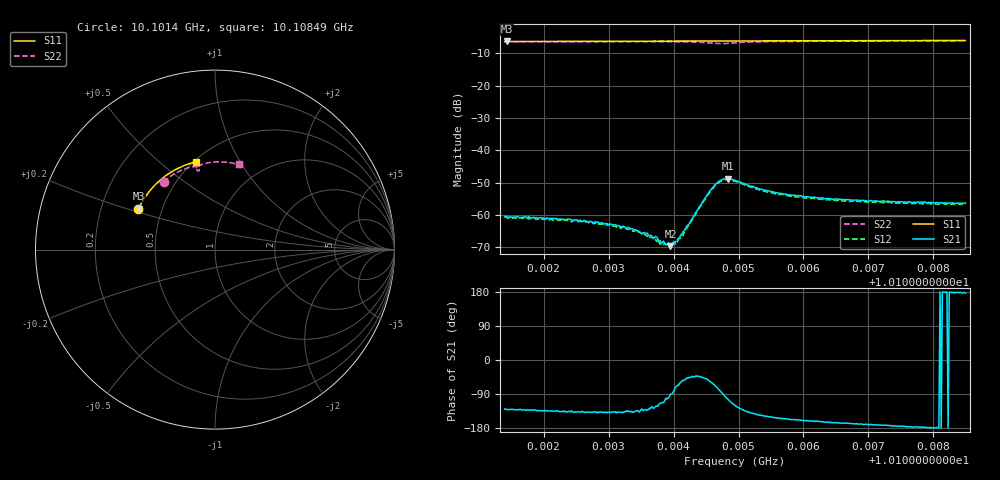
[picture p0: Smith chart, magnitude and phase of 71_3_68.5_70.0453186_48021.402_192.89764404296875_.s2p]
#  HZ  S  RI  R  50.00
! Rohde & Schwarz Vector Network Analyzer
! Rohde-Schwarz,ZNB20-2Port,1311601062101988,3.16
! Created: UTC 3/20/2024, 5:06:55 PM
! freq[Hz]  re:S11  im:S11  re:S21  im:S21  re:S12  im:S12  re:S22  im:S22
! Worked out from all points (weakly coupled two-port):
!   401 points, 10.1014 GHz to 10.10849 GHz, reference 50 ohm
!   highest |S21| = -48.71 dB at 10.10484 GHz (marker M1); lowest = -69.6 dB at 10.10395 GHz (marker M2)
!   lowest |S11| = -6.3 dB at 10.10144 GHz (marker M3), VSWR 2.87, Z = 18.4 + j10.9 ohm
!   |S11| at or under -10 dB: nowhere
!   |S22| runs from -7.0 to -6.1 dB; largest |S21 - S12| = 0.00038
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1.01014e10  -0.4271 0.2256  -0.0006 -0.000737  -0.000527 -0.000759  -0.2866 0.3792
1.0101435e10  -0.4261 0.2274  -0.000592 -0.000704  -0.000515 -0.000743  -0.285 0.3807
1.0102588e10  -0.392 0.2885  -0.000574 -0.000564  -0.000548 -0.000567  -0.2233 0.4237
1.0103013e10  -0.3771 0.3097  -0.000523 -0.000471  -0.000491 -0.000509  -0.1984 0.437
1.0103332e10  -0.3652 0.3252  -0.000454 -0.000419  -0.000374 -0.000436  -0.1788 0.4458
1.0103492e10  -0.359 0.3325  -0.000363 -0.000395  -0.000356 -0.0004  -0.1685 0.4501
1.0103581e10  -0.3557 0.3367  -0.000358 -0.000387  -0.00029 -0.000388  -0.1628 0.4522
1.0103776e10  -0.3477 0.3455  -0.000175 -0.000351  -0.000156 -0.000342  -0.1497 0.4567
1.0103847e10  -0.3447 0.3487  -0.000152 -0.000367  -7.49e-05 -0.00034  -0.1445 0.4581
1.0103953e10  -0.3404 0.3534  2.31e-07 -0.00033  3.45e-05 -0.000353  -0.1369 0.4601
1.0104059e10  -0.3359 0.358  0.000152 -0.000352  0.000179 -0.000365  -0.1287 0.4617
1.010413e10  -0.333 0.3611  0.000298 -0.000418  0.000298 -0.000385  -0.123 0.4621
1.0104503e10  -0.3165 0.3768  0.00127 -0.00147  0.00131 -0.00131  -0.0916 0.4549
1.0104609e10  -0.3116 0.381  0.00123 -0.0024  0.0014 -0.00221  -0.087 0.4461
1.0104733e10  -0.3062 0.3858  0.000301 -0.00347  0.000588 -0.00333  -0.0921 0.4378
1.0104839e10  -0.3013 0.39  -0.000884 -0.00356  -0.000597 -0.00345  -0.0996 0.4413
1.0104946e10  -0.2965 0.3941  -0.00171 -0.00299  -0.00138 -0.00303  -0.1007 0.4504
1.0105442e10  -0.2728 0.4128  -0.00202 -0.00125  -0.00183 -0.00134  -0.0694 0.4762
1.0105726e10  -0.2587 0.4224  -0.0019 -0.00089  -0.00175 -0.00101  -0.0493 0.4817
1.0106134e10  -0.2378 0.4356  -0.00176 -0.000578  -0.00166 -0.000757  -0.0213 0.4862
1.0107322e10  -0.1736 0.4677  -0.00161 -0.000207  -0.00153 -0.000357  0.0568 0.4872
1.0108492e10  -0.1062 0.4897  -0.00152 9.32e-05  -0.00147 -7.5e-05  0.1309 0.4753
